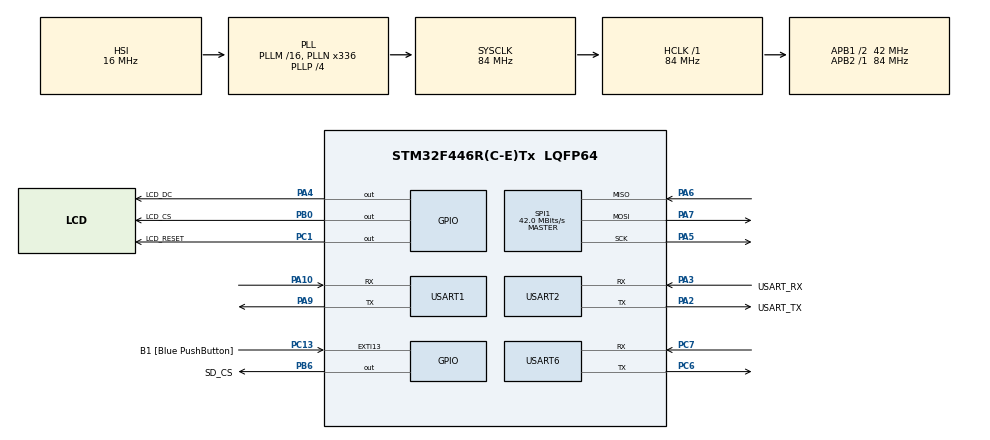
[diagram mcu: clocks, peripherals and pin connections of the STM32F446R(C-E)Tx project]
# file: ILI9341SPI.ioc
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Dma.Request0=SPI1_TX
Dma.SPI1_TX.0.Direction=DMA_MEMORY_TO_PERIPH
Dma.SPI1_TX.0.FIFOMode=DMA_FIFOMODE_DISABLE
Dma.SPI1_TX.0.Instance=DMA2_Stream3
Dma.SPI1_TX.0.MemDataAlignment=DMA_MDATAALIGN_BYTE
Dma.SPI1_TX.0.MemInc=DMA_MINC_ENABLE
Dma.SPI1_TX.0.Mode=DMA_NORMAL
Dma.SPI1_TX.0.PeriphDataAlignment=DMA_PDATAALIGN_BYTE
Dma.SPI1_TX.0.PeriphInc=DMA_PINC_DISABLE
Dma.SPI1_TX.0.Priority=DMA_PRIORITY_LOW
Mcu.Family=STM32F4
Mcu.Name=STM32F446R(C-E)Tx
Mcu.Package=LQFP64
NVIC.DMA2_Stream3_IRQn=true\:0\:0\:false\:false\:true\:false\:true\:true
NVIC.PriorityGroup=NVIC_PRIORITYGROUP_0
NVIC.SPI1_IRQn=true\:0\:0\:false\:false\:true\:true\:true\:true
NVIC.USART1_IRQn=true\:0\:0\:false\:false\:true\:true\:true\:true
NVIC.USART2_IRQn=true\:0\:0\:false\:false\:true\:true\:true\:true
NVIC.USART6_IRQn=true\:0\:0\:false\:false\:true\:true\:true\:true
PA10.Mode=Asynchronous
PA10.Signal=USART1_RX
PA13.GPIO_Label=TMS
PA13.Mode=Serial_Wire
PA13.Signal=SYS_JTMS-SWDIO
PA14.GPIO_Label=TCK
PA14.Mode=Serial_Wire
PA14.Signal=SYS_JTCK-SWCLK
PA2.GPIO_Label=USART_TX
PA2.Mode=Asynchronous
PA2.Signal=USART2_TX
PA3.GPIO_Label=USART_RX
PA3.Mode=Asynchronous
PA3.Signal=USART2_RX
PA4.GPIO_Label=LCD_DC
PA4.GPIO_Speed=GPIO_SPEED_FREQ_MEDIUM
PA4.Signal=GPIO_Output
PA5.Mode=Full_Duplex_Master
PA5.Signal=SPI1_SCK
PA6.Mode=Full_Duplex_Master
PA6.Signal=SPI1_MISO
PA7.Mode=Full_Duplex_Master
PA7.Signal=SPI1_MOSI
PA9.Mode=Asynchronous
PA9.Signal=USART1_TX
PB0.GPIO_Label=LCD_CS
PB0.GPIO_Speed=GPIO_SPEED_FREQ_MEDIUM
PB0.Signal=GPIO_Output
PB3.GPIO_Label=SWO
PB3.Signal=SYS_JTDO-SWO
PB6.GPIO_Label=SD_CS
PB6.GPIO_Speed=GPIO_SPEED_FREQ_MEDIUM
PB6.Signal=GPIO_Output
PC1.GPIO_Label=LCD_RESET
PC1.GPIO_Speed=GPIO_SPEED_FREQ_MEDIUM
PC1.Signal=GPIO_Output
PC13.GPIO_Label=B1 [Blue PushButton]
PC13.GPIO_ModeDefaultEXTI=GPIO_MODE_IT_FALLING
PC13.Signal=GPXTI13
PC14-OSC32_IN.Mode=LSE-External-Oscillator
PC14-OSC32_IN.Signal=RCC_OSC32_IN
PC15-OSC32_OUT.Mode=LSE-External-Oscillator
PC15-OSC32_OUT.Signal=RCC_OSC32_OUT
PC6.Mode=Asynchronous
PC6.Signal=USART6_TX
PC7.Mode=Asynchronous
PC7.Signal=USART6_RX
PH0-OSC_IN.Mode=HSE-External-Oscillator
PH0-OSC_IN.Signal=RCC_OSC_IN
PH1-OSC_OUT.Mode=HSE-External-Oscillator
PH1-OSC_OUT.Signal=RCC_OSC_OUT
ProjectManager.HeapSize=0x200
ProjectManager.StackSize=0x400
ProjectManager.TargetToolchain=STM32CubeIDE
RCC.48MHZClocksFreq_Value=84000000
RCC.AHBFreq_Value=84000000
RCC.APB1CLKDivider=RCC_HCLK_DIV2
RCC.APB1Freq_Value=42000000
RCC.APB1TimFreq_Value=84000000
RCC.APB2Freq_Value=84000000
RCC.APB2TimFreq_Value=84000000
RCC.CortexFreq_Value=84000000
RCC.FLatency-AdvancedSettings=FLASH_LATENCY_2
RCC.HCLKFreq_Value=84000000
RCC.HSE_VALUE=8000000
RCC.HSI_VALUE=16000000
RCC.PLLN=336
RCC.PLLP=RCC_PLLP_DIV4
RCC.SYSCLKFreq_VALUE=84000000
RCC.SYSCLKSource=RCC_SYSCLKSOURCE_PLLCLK
RCC.USBFreq_Value=168000000
RCC.VCOOutputFreq_Value=336000000
SPI1.BaudRatePrescaler=SPI_BAUDRATEPRESCALER_2
SPI1.CalculateBaudRate=42.0 MBits/s
SPI1.Direction=SPI_DIRECTION_2LINES
SPI1.Mode=SPI_MODE_MASTER
SPI1.VirtualType=VM_MASTER
USART1.VirtualMode=VM_ASYNC
USART2.VirtualMode=VM_ASYNC
USART6.VirtualMode=VM_ASYNC
board=NUCLEO-F446RE

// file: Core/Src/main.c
/* USER CODE BEGIN Header */
/**
 ******************************************************************************
 * @file           : main.c
 * @brief          : Main program body
 ******************************************************************************
 * @attention
 *
 * Copyright (c) 2024 STMicroelectronics.
 * All rights reserved.
 *
 * This software is licensed under terms that can be found in the LICENSE file
 * in the root directory of this software component.
 * If no LICENSE file comes with this software, it is provided AS-IS.
 *
 * Proyecto 02 - Angie Recinos 23294 | Edvin Paiz
 ******************************************************************************
 */
/* USER CODE END Header */
#include "main.h"

/* USER CODE BEGIN Includes */
#include "ili9341.h"
#include "bitmaps.h"
#include <stdio.h>
#include <stdlib.h>
/* USER CODE END Includes */

/* USER CODE BEGIN PTD */
typedef enum {
    ESTADO_PORTADA,
    ESTADO_NIVEL_1,
    ESTADO_NIVEL_2,
    ESTADO_GAMEOVER
} EstadoJuego;

typedef struct {
    int x1, x2;      // Rango horizontal de la plataforma
    int y_inicio;    // Altura en x1
    int y_fin;       // Altura en x2 (si y_inicio != y_fin, está inclinada)
} Plataforma;

typedef struct {
    int x_centro;    // Posición X de la escalera
    int y_piso;     // Donde empieza abajo
    int y_techo;     // Donde termina arriba
    int ancho;       // Margen de la escalera (detectar que Mario está cerca)
} Escalera;
typedef enum {
    BARRIL_RODANDO,
    BARRIL_BAJANDO_ESC,
    BARRIL_CAYENDO // Por si cae
} EstadoBarril;

typedef struct {
    int x, y;
    int x_ant, y_ant;
    int dir;           // 1: derecha, -1: izquierda
    EstadoBarril estado;
    int activo;        // 0: libre para reusar, 1: en pantalla
    int anim;          // Cuadro de animación
} Barril;
/* USER CODE END PTD */

SPI_HandleTypeDef hspi1;
DMA_HandleTypeDef hdma_spi1_tx;

UART_HandleTypeDef huart1;
UART_HandleTypeDef huart2;
UART_HandleTypeDef huart6;

/* USER CODE BEGIN PV */
// ------------- Variables para fondos -----------------
extern const uint16_t inicio[];
extern const uint16_t fondo_nivel1[];
extern const uint16_t fondo_nivel2[];

// ------------- Variables para los UART -------------
volatile uint8_t ctrl_cmd1;
volatile uint8_t ctrl_cmd2;
volatile uint8_t ctrl_cmd6;
volatile uint8_t rx_data1;
volatile uint8_t rx_data2;
volatile uint8_t rx_data6;

// ------------- Posiciones de mario (actual y anterior) -------------
//int mario_x = 0;
//int mario_y = 210;
int mario_x = 15;
int mario_y = 287;
int mario_x_ant = 50;
int mario_y_ant = 50;
int mario_flip = 0;
int mario_y_past = 0;

// ------------- Buffer para sprites -------------
extern uint16_t sprite_buffer[1024];

// ------------- Cambios de pantalla -------------
EstadoJuego estadoActual = ESTADO_PORTADA;
uint8_t cambioDePantalla = 1;

// ------------- Variables para salto -------------
int anim = 0;
uint16_t *mario_actual = mario_camina; // Puntero al arreglo que se va a dibujar
int mario_ancho_hoja = 48;             // Por defecto la de caminar tiene 3 cuadros
int en_aire = 0;					   // Bandera para ver si está saltando
int salto_timer = 0; 				   // Cuenta tiempo de salto
int jumpState = 0;    // 0: Suelo, 1: Subiendo, 2: Bajando
int jumpProgress = 0; // Qué tanto ha saltado
int jumpMax = 16;     // Altura máxima del salto en píxeles
int jumpEvent = 0;
char comando;
int inercia_x  = 0;
int timer_inercia = 0;
char comando_anterior = '0';
int mario_y_objetivo = 0;
// --------------- Variables para donkey --------------
uint32_t frame_counter = 0;
/* USER CODE END PV */

// --------------- Plataformas -----------------
/*const Plataforma nivel1[] = {
    {0, 320, 230, 226},   // Viga 1: De izquierda a derecha, subiendo
    {11, 287, 195, 203},  // Viga 2: De izquierda a derecha, bajando
    {32, 266, 173, 166},   // Viga 3: Izquierda a derecha, subiendo
    {12, 246, 135, 141},   // Viga 4: De izquierda a derecha, bajando
    {23, 267, 112, 106},  // Viga 5: De izquierda a derecha, subiendo
    {12, 235, 78, 81},   // Viga 6: Izquierda a derecha, bajando
	{130, 182, 54, 55},	 // Viga 7: Levemente bajando
};*/

const Plataforma nivel1[] = {
    {130, 182, 54, 55},   // Viga 7 (arriba)
    {12, 235, 78, 81},    // Viga 6
    {23, 267, 112, 106},  // Viga 5
    {12, 246, 135, 141},  // Viga 4
    {32, 266, 173, 166},  // Viga 3
    {11, 287, 195, 203},  // Viga 2
    {0, 320, 230, 226}    // Viga 1 (abajo)
};
const Plataforma *plataformas_actuales = nivel1;
int numPlataformas_actual = 7;
// ---------------- Escaleras -------------------
const Escalera nivel1_escaleras[] = {
    {255, 226, 187, 11}, 	// Esc. 1 (rangos de altura)
    {138, 187, 156, 11},    // Esc. 2
    {54, 182, 153, 11},		// Esc. 3
	{158, 158, 124, 10},	// Esc. 4
	{108, 124, 98, 10},		// Esc. 5
	{43, 123, 100, 9},		// Esc. 6
	{212, 98, 68, 11},		// Esc. 7
	{169, 66, 43, 11}		// Esc. 8
};
int numEscaleras_actual = 8;
const Escalera *escaleras_actuales = nivel1_escaleras;
int escalera_id = 0; // Para recordar cuál escalera está usando Mario
int mario_sube = 0;	// Bandera para escaleras

// -------------------- Barriles --------------
#define MAX_BARRILES 4
Barril barriles[MAX_BARRILES];
int spawn_timer = 0;

void SystemClock_Config(void);
static void MX_GPIO_Init(void);
static void MX_DMA_Init(void);
static void MX_USART2_UART_Init(void);
static void MX_SPI1_Init(void);
static void MX_USART1_UART_Init(void);
static void MX_USART6_UART_Init(void);
/* USER CODE BEGIN PFP */
void actualizarY_Mario(void);
void crearBarril(void);
void actualizarY_Objeto(int *obj_x, int *obj_y);
void actualizarBarriles(void);
/* USER CODE END PFP */

/* USER CODE BEGIN 0 */
/*void actualizarY_Mario(void) {
    for (int i = 0; i < numPlataformas_actual; i++) {
        // Se revisa si mario está parado sobre la viga
        if (mario_x >= plataformas_actuales[i].x1 && mario_x <= plataformas_actuales[i].x2) {
            // Se calcula el ancho de la viga con x2-x1
            int anchoViga = plataformas_actuales[i].x2 - plataformas_actuales[i].x1;
            // El avance será la posición de mario - x1 (que tanto ha avanzado en esa viga)
            int avanceX = mario_x - plataformas_actuales[i].x1;
            // Se calcula la diferencia en y
            int diferenciaY = plataformas_actuales[i].y_fin - plataformas_actuales[i].y_inicio;

            // FÓRMULA DE LA PENDIENTE
            // Se resta la altura de Mario para que toquen los pies y no la cabeza
            mario_y = plataformas_actuales[i].y_inicio + ((avanceX * diferenciaY) / anchoViga) - 16;

            break; // Salimos del for porque ya encontramos el suelo
        }
    }
}*/
void actualizarY_Mario(void) {
    int viga_encontrada = -1;
    int menor_distancia = 1000;

    for (int i = 0; i < numPlataformas_actual; i++) {
        // Revisamos si mario está en la viga
        if (mario_x + 8 >= plataformas_actuales[i].x1 && mario_x + 8 <= plataformas_actuales[i].x2) {

            // Calculamos la altura para la plataforma en este punto X
            int anchoViga = plataformas_actuales[i].x2 - plataformas_actuales[i].x1;
            int avanceX = (mario_x + 8) - plataformas_actuales[i].x1;
            int diferenciaY = plataformas_actuales[i].y_fin - plataformas_actuales[i].y_inicio;

            // Altura teórica en este punto (se usa la fórmila de la pendiente)
            int y_teorico = plataformas_actuales[i].y_inicio + ((avanceX * diferenciaY) / anchoViga) - 16;

            // Se busca la viga que teóricamente tiene debajo de los pies (la más cercana)
            int distancia = mario_y - y_teorico;

            // Solo la tomamos en cuenta si está cerca (evita saltar a vigas que están lejos)
            // y si es la más cercana que tenemos actualmente
            if (distancia >= -5 && distancia < menor_distancia) {
                menor_distancia = distancia;
                viga_encontrada = i;
                mario_y_objetivo = y_teorico;
            }
        }
    }

    // Si encontramos la viga correcta, se actualiza la posición en y
    if (viga_encontrada != -1) {
        mario_y = mario_y_objetivo;
    }
}

void crearBarril(void) {
    for (int i = 0; i < MAX_BARRILES; i++) {
        if (barriles[i].activo == 0) {
            barriles[i].x = 67; // Donde está Donkey Kong
            barriles[i].y = 45; // Ajustado a la altura de la viga 7
            barriles[i].dir = 1;
            barriles[i].estado = BARRIL_RODANDO;
            barriles[i].activo = 1;
            break;
        }
    }
}

void actualizarY_Objeto(int *obj_x, int *obj_y) {
    int viga_encontrada = -1;
    int menor_distancia = 1000;
    int y_final = *obj_y; // Empezamos con la Y actual

    for (int i = 0; i < numPlataformas_actual; i++) {
        // Usamos el centro del objeto (8 porque el barril mide 16)
        int checkX = (*obj_x) + 8;

        if (checkX >= plataformas_actuales[i].x1 && checkX <= plataformas_actuales[i].x2) {
            int anchoViga = plataformas_actuales[i].x2 - plataformas_actuales[i].x1;
            int avanceX = checkX - plataformas_actuales[i].x1;
            int diferenciaY = plataformas_actuales[i].y_fin - plataformas_actuales[i].y_inicio;

            // Calculamos el suelo en ese punto X
            int y_teorico = plataformas_actuales[i].y_inicio + ((avanceX * diferenciaY) / anchoViga) - 16;

            int distancia = (*obj_y) - y_teorico;

            // Busca la viga más cercana
            if (distancia >= -10 && distancia < menor_distancia) {
                menor_distancia = distancia;
                y_final = y_teorico;
                viga_encontrada = i;
            }
        }
    }

    if (viga_encontrada != -1) {
        *obj_y = y_final;
    }
}

void actualizarBarriles(void) {
    for (int i = 0; i < MAX_BARRILES; i++) {
        if (!barriles[i].activo) continue;

        // Guardar posición anterior para borrar rastro
        barriles[i].x_ant = barriles[i].x;
        barriles[i].y_ant = barriles[i].y;

        if (barriles[i].estado == BARRIL_RODANDO) {
            // Mover en X
            barriles[i].x += (barriles[i].dir * 3); // Velocidad del barril

            // Aquí se llama a una versión simplificada de actualizarY para el barril
            actualizarY_Objeto(&barriles[i].x, &barriles[i].y);

            //Decidir si baja por una escalera (random)
            for (int e = 0; e < numEscaleras_actual; e++) {
                if (abs(barriles[i].x - nivel1_escaleras[e].x_centro) < 5) {
                    // Si está sobre una escalera, hay un 10% de probabilidad de que baje
                    if (rand() % 100 < 10) {
                        barriles[i].estado = BARRIL_BAJANDO_ESC;
                        barriles[i].x = nivel1_escaleras[e].x_centro; // Alineación
                    }
                }
            }
        }
        else if (barriles[i].estado == BARRIL_BAJANDO_ESC) {
            barriles[i].y += 4; // Baja más rápido de lo que rueda

            // Se detecta si tocó la viga de abajo
            // Si la distancia a la siguiente viga es casi 0, vuelve a rodar
            // y cambiar de dirección: barriles[i].dir *= -1;
        }

        // Se calcula el sprite
        barriles[i].anim = (barriles[i].x / 8) % 4;

        // 5. Salida de pantalla (Desactivar los barriles)
        if (barriles[i].x > 320 || barriles[i].x < -16 || barriles[i].y > 240) {
        	LCD_RestaurarFondo(barriles[i].x, barriles[i].y, 16, 16, fondo_nivel1, 320, 31);
        	barriles[i].activo = 0;
        }
    }
}
/* USER CODE END 0 */

int main(void)
{

  /* MCU Configuration--------------------------------------------------------*/

  /* Reset of all peripherals, Initializes the Flash interface and the Systick. */
  HAL_Init();

  /* Configure the system clock */
  SystemClock_Config();

  /* Initialize all configured peripherals */
  MX_GPIO_Init();
  MX_DMA_Init();
  MX_USART2_UART_Init();
  MX_SPI1_Init();
  MX_USART1_UART_Init();
  MX_USART6_UART_Init();
  /* USER CODE BEGIN 2 */
	LCD_Init();

	LCD_Clear(0x00);

	// Inicio de UARTs
	HAL_UART_Receive_IT(&huart1, &rx_data1, 1);
	HAL_UART_Receive_IT(&huart2, &rx_data2, 1);
	HAL_UART_Receive_IT(&huart6, &rx_data6, 1);
	//FillRect(90, 60, 20, 20, 0x001F);

	//LCD_Bitmap(0, 31, 320, 209, fondo);
  /* USER CODE END 2 */

  /* Infinite loop */
  /* USER CODE BEGIN WHILE */
	while (1) {

		if (ctrl_cmd2 != 0) {
		        comando = ctrl_cmd2;
		        ctrl_cmd2 = 0; // Limpiar comando

		        // Transiciones de estado (Cambiar de nivel)
		                if (estadoActual == ESTADO_PORTADA && comando == 's') { // s para Start
		                    estadoActual = ESTADO_NIVEL_1;
		                    cambioDePantalla = 1;
		                }
		                else if (estadoActual == ESTADO_NIVEL_1 && comando == 'n') { // n para Next
		                    estadoActual = ESTADO_NIVEL_2;
		                    cambioDePantalla = 1;
		                }

		                // Movimiento (Solo si estamos en un nivel)
		                if (estadoActual == ESTADO_NIVEL_1 || estadoActual == ESTADO_NIVEL_2) {
		                	// Revisamos comandos enviados por UART
		                	// Para desplazamientos actualizamos posición de mario
		                	if (comando == 'j'){
		                		jumpEvent = 1;
		                		}
		                	if (comando == 'r'){
		                    	mario_x += 5; // Derecha
		                    	mario_flip = 1;
		                    	//comando_anterior = 'r';
		                    	inercia_x = 2;

		                    }
		                    if (comando == 'l'){
		                    	mario_x -= 5; // Izquierda
		                    	mario_flip = 0;
		                    	//comando_anterior = 'l';
		                    	inercia_x = -2;

		                    }
		                    if (comando == 'u') {

		                    	mario_sube = 1;
		                    }
		                    if (comando == 'd') {

		                    	mario_sube = 2;
		                    }

		                }
		}

		            // --- DIBUJAR SEGÚN EL ESTADO ---
		            switch (estadoActual) {
		                case ESTADO_PORTADA:
		                    if (cambioDePantalla) {
		                        LCD_Clear(0x0000);
		                        LCD_Bitmap(0, 0, 320, 240, inicio);
		                        LCD_Print("PRESIONA 'S' PARA INICIAR", 65, 180, 1, 0xFFFF, 0x0000);
		                        cambioDePantalla = 0;
		                    }
		                    break;

		                case ESTADO_NIVEL_1:
		                    if (cambioDePantalla) {
		                        LCD_Clear(0x0000);
		                        LCD_Bitmap(0, 31, 320, 209, fondo_nivel1);
		                        cambioDePantalla = 0;
		                        frame_counter = 0;
		                        spawn_timer = 0;

		                        //barriles[0].x = 100; barriles[0].y = 100; barriles[0].activo = 1; barriles[0].dir = 1;
		                    }
		                    spawn_timer++;
		                        if (spawn_timer > 150) {
		                            crearBarril();       // se crean barriles
		                            spawn_timer = 0;     // Reiniciamos el reloj para el siguiente barril
		                        }
		                    // Muestra sprites fijos
		                    // Muestra a donkey kong
		                    int dk_anim = (frame_counter / 15) % 3;

		                    while (hspi1.State == HAL_SPI_STATE_BUSY_TX);
		                    LCD_DibujarSpriteUniversal(35, 45, 32, 32, donkey_barril, dk_anim, 96,
		                                               fondo_nivel1, 320, 0x0000, 31, 0);
		                    HAL_Delay(10);
		                    // Mostrar a la princesa
		                    int princess_anim = (frame_counter /15) % 2;
		                    while (hspi1.State == HAL_SPI_STATE_BUSY_TX);
		                    LCD_DibujarSpriteUniversal(127, 32, 44, 22, princesa, princess_anim, 88,
		                   		                       fondo_nivel1, 320, 0x0000, 31, 0);
		                    HAL_Delay(10);
		                    frame_counter++;
		                    actualizarBarriles();

		                    // codigo para barriles
		                    for (int i = 0; i < MAX_BARRILES; i++) {
		                        if (barriles[i].activo) {
		                            // 1. Borrar posición vieja
		                            LCD_RestaurarFondo(barriles[i].x_ant, barriles[i].y_ant, 16, 16, fondo_nivel1, 320, 31);

		                            // 2. Dibujar posición nueva
		                            while (hspi1.State == HAL_SPI_STATE_BUSY_TX);
		                            LCD_DibujarSpriteUniversal(
		                                barriles[i].x, barriles[i].y,
		                                16, 16,
		                                barril_lateral,
		                                barriles[i].anim,
		                                64,            // El ancho total 64x16
		                                fondo_nivel1, 320, 0x0000, 31, 0
		                            );
		                        }
		                    }

		                    // Lógica del salto con inercia
		                    if (comando == 'j' && jumpState == 0) {
		                            jumpState = 1;     // Empezar a subir
		                            jumpProgress = 0;

		                            comando = '0';
		                            mario_y_past = mario_y;
		                            mario_actual = mario_brinca;
		                            mario_ancho_hoja = 16;
		                    }

		                    // Si está saltando mueve en x simulando inercia
		                    if(jumpState != 0){
		                    	mario_x += inercia_x;
		                    }
		                    // Aquí va caminado
		                    if (jumpState == 0){
		                    	int enEscaleraActiva = 0;

		                    	for (int i = 0; i < numEscaleras_actual; i++) {
		                    	        // Se revisa si está alineado con la escalera
		                    	        if (mario_x > (nivel1_escaleras[i].x_centro - 8) &&
		                    	            mario_x < (nivel1_escaleras[i].x_centro + 8)) {

		                    	            // Se revisa si está entre el piso y el techo, se añade un margen de 2 como +/-
		                    	            if (mario_y <= nivel1_escaleras[i].y_piso && mario_y >= (nivel1_escaleras[i].y_techo - 2)) {

		                    	                // Mientras Mario esté en este rango, bloqueamos la rampa
		                    	            	// indicando que está en una escalera
		                    	                enEscaleraActiva = 1;

		                    	                // Solo si hay comando, movemos la posición
		                    	                if (mario_sube == 1 || mario_sube == 2) {
		                    	                    mario_x = nivel1_escaleras[i].x_centro; // Se jala a mario para el centro de la escalera

		                    	                    if (mario_sube == 1) mario_y -= 4;
		                    	                    if (mario_sube == 2) mario_y += 4;

		                    	                    // Identificamos qué sprite usar
		                    	                    int dist = mario_y - nivel1_escaleras[i].y_techo;
		                    	                    if (dist <= 4 && dist > 0) {
		                    	                        mario_actual = mario_escala;	// Terminando de subir
		                    	                        mario_ancho_hoja = 64;
		                    	                        anim = (mario_y / 8) % 4;

		                    	                    } else {
		                    	                        mario_actual = mario_subiendo; // Espaldas
		                    	                        mario_ancho_hoja = 32;
		                    	                        anim = (mario_y / 8) % 2;
		                    	                    }

		                    	                    mario_sube = 0; // Limpiamos bandera
		                    	                }

		                    	                // Se actualiza la posicion de mario siempre que este dentro del rango
		                    	                if (mario_y <= nivel1_escaleras[i].y_techo) {
		                    	                    mario_y = nivel1_escaleras[i].y_techo;
		                    	                    mario_y_past = mario_y;
		                    	                    // Solo si no está bajando, cambiamos de sprite
		                    	                    mario_actual = mario_camina;
		                    	                    mario_ancho_hoja = 48;
		                    	                }
		                    	                if (mario_y >= nivel1_escaleras[i].y_piso) {
		                    	                    mario_y = nivel1_escaleras[i].y_piso;
		                    	                    mario_actual = mario_camina;
		                    	                    mario_ancho_hoja = 48;

		                    	                }

		                    	                break;
		                    	            }
		                    	        }
		                    	    }

		                    	    // Si no hay escalera, entonces hace la rampa
		                    	    if (enEscaleraActiva == 0) {
		                    	        actualizarY_Mario();
		                    	    }
		                    }

		                    if (jumpState == 1) { // SUBIENDO - en el salto
		                            int step = 2; // Velocidad de subida

		                            if (jumpProgress +step > 16) {
		                                step = 16 - jumpProgress; // Llegó al tope, empezar a bajar
		                            }
		                            mario_y -= step;			// La y es inversa (si va para arriba -)
		                            jumpProgress += step;

		                            if (jumpProgress >= 16){
		                            	jumpState = 2;
		                            }

		                        }
		                    else if (jumpState == 2) { // BAJANDO
		                            int step = 2; // Velocidad de bajada
		                            if(jumpProgress - step < 0){
		                            	step  = jumpProgress;
		                            }
		                            mario_y += step;
		                            jumpProgress -= step;

		                            if (mario_y >= mario_y_past) { // altura del "suelo/viga"
		                                mario_y = mario_y_past;
		                                jumpState = 0;    // Tocar suelo
		                                jumpProgress = 0;
		                                inercia_x = 0;
		                                mario_actual = mario_camina;
		                                mario_ancho_hoja = 48;

		                            }
		                        }

		                    // Límites Horizontales
		                    if (mario_x < 0) mario_x = 0;
		                    if (mario_x > 320 - 16) mario_x = 320 - 16;

		                    // Límites Verticales (Respetando inicio de fondo en 31)
		                    if (mario_y < 31) mario_y = 31;
		                    if (mario_y > 240 - 16) mario_y = 240 - 16;

		                    if (mario_x != mario_x_ant || mario_y != mario_y_ant) {
		                        // Actualizamos posición, guardamos la posición actual como la nueva "anterior"
		                    	LCD_RestaurarFondo(mario_x_ant, mario_y_ant, 16, 16, fondo_nivel1, 320, 31);
		                    	mario_x_ant = mario_x;
		                        mario_y_ant = mario_y;
		                    	}
		                    anim = (mario_x / 10) % 3;

		                    while (hspi1.State == HAL_SPI_STATE_BUSY_TX);
		                    LCD_DibujarSpriteUniversal(
		                        	mario_x, mario_y,           // Posición actual
		                        	16, 16,                     // Ancho y alto de Mario
		                        	mario_actual,                 // El arreglo de sprites
		                        	anim,                       // Cuál cuadro de la animación
		                        	mario_ancho_hoja,           // Ancho total del sprite sheet (ej: 30px * 6 frames)
		                        	fondo_nivel1,               // El arreglo con el fondo de Donkey Kong
		                        	320,                        // Ancho total del fondo (320px)
		                        	0x0000,                      // COLOR TRANSPARENTE (Negro)
									31,							// Offset del fondo
									mario_flip
		                       );
		                    HAL_Delay(20);
		                    break;
		                case ESTADO_NIVEL_2:
		                	if (cambioDePantalla) {
		                		LCD_Clear(0x0000);
		                		LCD_Bitmap(0, 31, 320, 209, fondo_nivel2); // Dibuja el mapa
		                		cambioDePantalla = 0;
		                	}
		                	anim = (mario_x / 10) % 3;
		                	//LCD_Sprite(mario_x, mario_y, 16, 16, mario_camina, 3, anim, 0, 0);
		                	LCD_DibujarSpriteUniversal(
		                			mario_x, mario_y,           // Posición actual
									16, 16,                     // Ancho y alto de Mario
									mario_camina,                 // El arreglo de sprites
									anim,                       // Cuál cuadro de la animación
									48,                        // Ancho total del sprite sheet (ej: 30px * 6 frames)
									fondo_nivel2,               // El arreglo con el fondo de Donkey Kong
									320,                        // Ancho total del fondo (320px)
									0x0000,                      // COLOR TRANSPARENTE (Negro)
									31,
									mario_flip
		                	);
		                	break;

		                    //int anim = (mario_x / 10) % 6;
		                    //LCD_Sprite(mario_x, mario_y, 30, 28, mario_mart, 6, anim, 0, 0);

		            }

    /* USER CODE END WHILE */

	}
}

void SystemClock_Config(void)
{
  RCC_OscInitTypeDef RCC_OscInitStruct = {0};
  RCC_ClkInitTypeDef RCC_ClkInitStruct = {0};

  /** Configure the main internal regulator output voltage
  */
  __HAL_RCC_PWR_CLK_ENABLE();
  __HAL_PWR_VOLTAGESCALING_CONFIG(PWR_REGULATOR_VOLTAGE_SCALE3);

  /** Initializes the RCC Oscillators according to the specified parameters
  * in the RCC_OscInitTypeDef structure.
  */
  RCC_OscInitStruct.OscillatorType = RCC_OSCILLATORTYPE_HSI;
  RCC_OscInitStruct.HSIState = RCC_HSI_ON;
  RCC_OscInitStruct.HSICalibrationValue = RCC_HSICALIBRATION_DEFAULT;
  RCC_OscInitStruct.PLL.PLLState = RCC_PLL_ON;
  RCC_OscInitStruct.PLL.PLLSource = RCC_PLLSOURCE_HSI;
  RCC_OscInitStruct.PLL.PLLM = 16;
  RCC_OscInitStruct.PLL.PLLN = 336;
  RCC_OscInitStruct.PLL.PLLP = RCC_PLLP_DIV4;
  RCC_OscInitStruct.PLL.PLLQ = 2;
  RCC_OscInitStruct.PLL.PLLR = 2;
  if (HAL_RCC_OscConfig(&RCC_OscInitStruct) != HAL_OK)
  {
    Error_Handler();
  }

  /** Initializes the CPU, AHB and APB buses clocks
  */
  RCC_ClkInitStruct.ClockType = RCC_CLOCKTYPE_HCLK|RCC_CLOCKTYPE_SYSCLK
                              |RCC_CLOCKTYPE_PCLK1|RCC_CLOCKTYPE_PCLK2;
  RCC_ClkInitStruct.SYSCLKSource = RCC_SYSCLKSOURCE_PLLCLK;
  RCC_ClkInitStruct.AHBCLKDivider = RCC_SYSCLK_DIV1;
  RCC_ClkInitStruct.APB1CLKDivider = RCC_HCLK_DIV2;
  RCC_ClkInitStruct.APB2CLKDivider = RCC_HCLK_DIV1;

  if (HAL_RCC_ClockConfig(&RCC_ClkInitStruct, FLASH_LATENCY_2) != HAL_OK)
  {
    Error_Handler();
  }
}

static void MX_SPI1_Init(void)
{

  /* SPI1 parameter configuration*/
  hspi1.Instance = SPI1;
  hspi1.Init.Mode = SPI_MODE_MASTER;
  hspi1.Init.Direction = SPI_DIRECTION_2LINES;
  hspi1.Init.DataSize = SPI_DATASIZE_8BIT;
  hspi1.Init.CLKPolarity = SPI_POLARITY_LOW;
  hspi1.Init.CLKPhase = SPI_PHASE_1EDGE;
  hspi1.Init.NSS = SPI_NSS_SOFT;
  hspi1.Init.BaudRatePrescaler = SPI_BAUDRATEPRESCALER_2;
  hspi1.Init.FirstBit = SPI_FIRSTBIT_MSB;
  hspi1.Init.TIMode = SPI_TIMODE_DISABLE;
  hspi1.Init.CRCCalculation = SPI_CRCCALCULATION_DISABLE;
  hspi1.Init.CRCPolynomial = 10;
  if (HAL_SPI_Init(&hspi1) != HAL_OK)
  {
    Error_Handler();
  }

}

static void MX_USART1_UART_Init(void)
{

  huart1.Instance = USART1;
  huart1.Init.BaudRate = 115200;
  huart1.Init.WordLength = UART_WORDLENGTH_8B;
  huart1.Init.StopBits = UART_STOPBITS_1;
  huart1.Init.Parity = UART_PARITY_NONE;
  huart1.Init.Mode = UART_MODE_TX_RX;
  huart1.Init.HwFlowCtl = UART_HWCONTROL_NONE;
  huart1.Init.OverSampling = UART_OVERSAMPLING_16;
  if (HAL_UART_Init(&huart1) != HAL_OK)
  {
    Error_Handler();
  }

}

static void MX_USART2_UART_Init(void)
{

  huart2.Instance = USART2;
  huart2.Init.BaudRate = 115200;
  huart2.Init.WordLength = UART_WORDLENGTH_8B;
  huart2.Init.StopBits = UART_STOPBITS_1;
  huart2.Init.Parity = UART_PARITY_NONE;
  huart2.Init.Mode = UART_MODE_TX_RX;
  huart2.Init.HwFlowCtl = UART_HWCONTROL_NONE;
  huart2.Init.OverSampling = UART_OVERSAMPLING_16;
  if (HAL_UART_Init(&huart2) != HAL_OK)
  {
    Error_Handler();
  }

}

static void MX_USART6_UART_Init(void)
{

  huart6.Instance = USART6;
  huart6.Init.BaudRate = 115200;
  huart6.Init.WordLength = UART_WORDLENGTH_8B;
  huart6.Init.StopBits = UART_STOPBITS_1;
  huart6.Init.Parity = UART_PARITY_NONE;
  huart6.Init.Mode = UART_MODE_TX_RX;
  huart6.Init.HwFlowCtl = UART_HWCONTROL_NONE;
  huart6.Init.OverSampling = UART_OVERSAMPLING_16;
  if (HAL_UART_Init(&huart6) != HAL_OK)
  {
    Error_Handler();
  }

}

static void MX_DMA_Init(void)
{

  /* DMA controller clock enable */
  __HAL_RCC_DMA2_CLK_ENABLE();

  /* DMA interrupt init */
  /* DMA2_Stream3_IRQn interrupt configuration */
  HAL_NVIC_SetPriority(DMA2_Stream3_IRQn, 0, 0);
  HAL_NVIC_EnableIRQ(DMA2_Stream3_IRQn);

}

static void MX_GPIO_Init(void)
{
  GPIO_InitTypeDef GPIO_InitStruct = {0};

  /* GPIO Ports Clock Enable */
  __HAL_RCC_GPIOC_CLK_ENABLE();
  __HAL_RCC_GPIOH_CLK_ENABLE();
  __HAL_RCC_GPIOA_CLK_ENABLE();
  __HAL_RCC_GPIOB_CLK_ENABLE();

  /*Configure GPIO pin Output Level */
  HAL_GPIO_WritePin(LCD_RESET_GPIO_Port, LCD_RESET_Pin, GPIO_PIN_RESET);

  /*Configure GPIO pin Output Level */
  HAL_GPIO_WritePin(LCD_DC_GPIO_Port, LCD_DC_Pin, GPIO_PIN_RESET);

  /*Configure GPIO pin Output Level */
  HAL_GPIO_WritePin(GPIOB, LCD_CS_Pin|SD_CS_Pin, GPIO_PIN_RESET);

  /*Configure GPIO pin : B1_Pin */
  GPIO_InitStruct.Pin = B1_Pin;
  GPIO_InitStruct.Mode = GPIO_MODE_IT_FALLING;
  GPIO_InitStruct.Pull = GPIO_NOPULL;
  HAL_GPIO_Init(B1_GPIO_Port, &GPIO_InitStruct);

  /*Configure GPIO pin : LCD_RESET_Pin */
  GPIO_InitStruct.Pin = LCD_RESET_Pin;
  GPIO_InitStruct.Mode = GPIO_MODE_OUTPUT_PP;
  GPIO_InitStruct.Pull = GPIO_NOPULL;
  GPIO_InitStruct.Speed = GPIO_SPEED_FREQ_MEDIUM;
  HAL_GPIO_Init(LCD_RESET_GPIO_Port, &GPIO_InitStruct);

  /*Configure GPIO pin : LCD_DC_Pin */
  GPIO_InitStruct.Pin = LCD_DC_Pin;
  GPIO_InitStruct.Mode = GPIO_MODE_OUTPUT_PP;
  GPIO_InitStruct.Pull = GPIO_NOPULL;
  GPIO_InitStruct.Speed = GPIO_SPEED_FREQ_MEDIUM;
  HAL_GPIO_Init(LCD_DC_GPIO_Port, &GPIO_InitStruct);

  /*Configure GPIO pins : LCD_CS_Pin SD_CS_Pin */
  GPIO_InitStruct.Pin = LCD_CS_Pin|SD_CS_Pin;
  GPIO_InitStruct.Mode = GPIO_MODE_OUTPUT_PP;
  GPIO_InitStruct.Pull = GPIO_NOPULL;
  GPIO_InitStruct.Speed = GPIO_SPEED_FREQ_MEDIUM;
  HAL_GPIO_Init(GPIOB, &GPIO_InitStruct);

}

/* USER CODE BEGIN 4 */
void HAL_UART_RxCpltCallback(UART_HandleTypeDef *huart)
{
	if (huart->Instance == USART1) // Control 1
	    {
	    	ctrl_cmd1 = rx_data1;

	        //HAL_UART_Transmit(&huart2, &rx_data, 1, 100);

	        HAL_UART_Receive_IT(&huart1, &rx_data1, 1);

	    }

    if (huart->Instance == USART2) // Terminal para pruebas
    {
    	ctrl_cmd2 = rx_data2;

        //HAL_UART_Transmit(&huart2, &rx_data, 1, 100);

        HAL_UART_Receive_IT(&huart2, &rx_data2, 1);

    }

    if (huart->Instance == USART6) // Control 2
        {
        	ctrl_cmd6 = rx_data6;

            //HAL_UART_Transmit(&huart2, &rx_data, 1, 100);

            HAL_UART_Receive_IT(&huart6, &rx_data6, 1);

            switch (ctrl_cmd6)
            			  	  {
            			  		  	  case 'X':
            			  		  		  HAL_UART_Transmit(&huart2, (uint8_t*)"C2:X\r\n", 6, 1000);
            			  		  		  ctrl_cmd6 = 0;
            			  		  		  break;

            			  		  	  case 'C':
            			  		  		  HAL_UART_Transmit(&huart2, (uint8_t*)"C2:C\r\n", 6, 1000);
            			  		  		  ctrl_cmd6 = 0;
            			  		 		  break;
            			  		  	  case 'U':
            			  		  		  HAL_UART_Transmit(&huart2, (uint8_t*)"C2:U\r\n", 6, 1000);
            			  		  		  ctrl_cmd6 = 0;
            			  		 		  break;

            			  		  	  case 'D':
            			  		  		  HAL_UART_Transmit(&huart2, (uint8_t*)"C2:D\r\n", 6, 1000);
            			  		  		  ctrl_cmd6 = 0;
            			  		 		  break;

            			  		  	  case 'R':
            			  		  		  HAL_UART_Transmit(&huart2, (uint8_t*)"C2:R\r\n", 6, 1000);
            			  		  		  ctrl_cmd6 = 0;
            			  		 		  break;

            			  		  	  case 'L':
            			  		  		  HAL_UART_Transmit(&huart2, (uint8_t*)"C2:L\r\n", 6, 1000);
            			  		  		  ctrl_cmd6 = 0;
            			  		 		  break;
            			  		  	  }
        }

}

void HAL_SPI_TxCpltCallback(SPI_HandleTypeDef *hspi) {
    if (hspi->Instance == SPI1) {
        // Esto es lo mismo que LCD_CS_H()
        HAL_GPIO_WritePin(GPIOB, GPIO_PIN_0, GPIO_PIN_SET);
    }
}
/* USER CODE END 4 */

void Error_Handler(void)
{
	__disable_irq();
	while (1) {
	}
}
